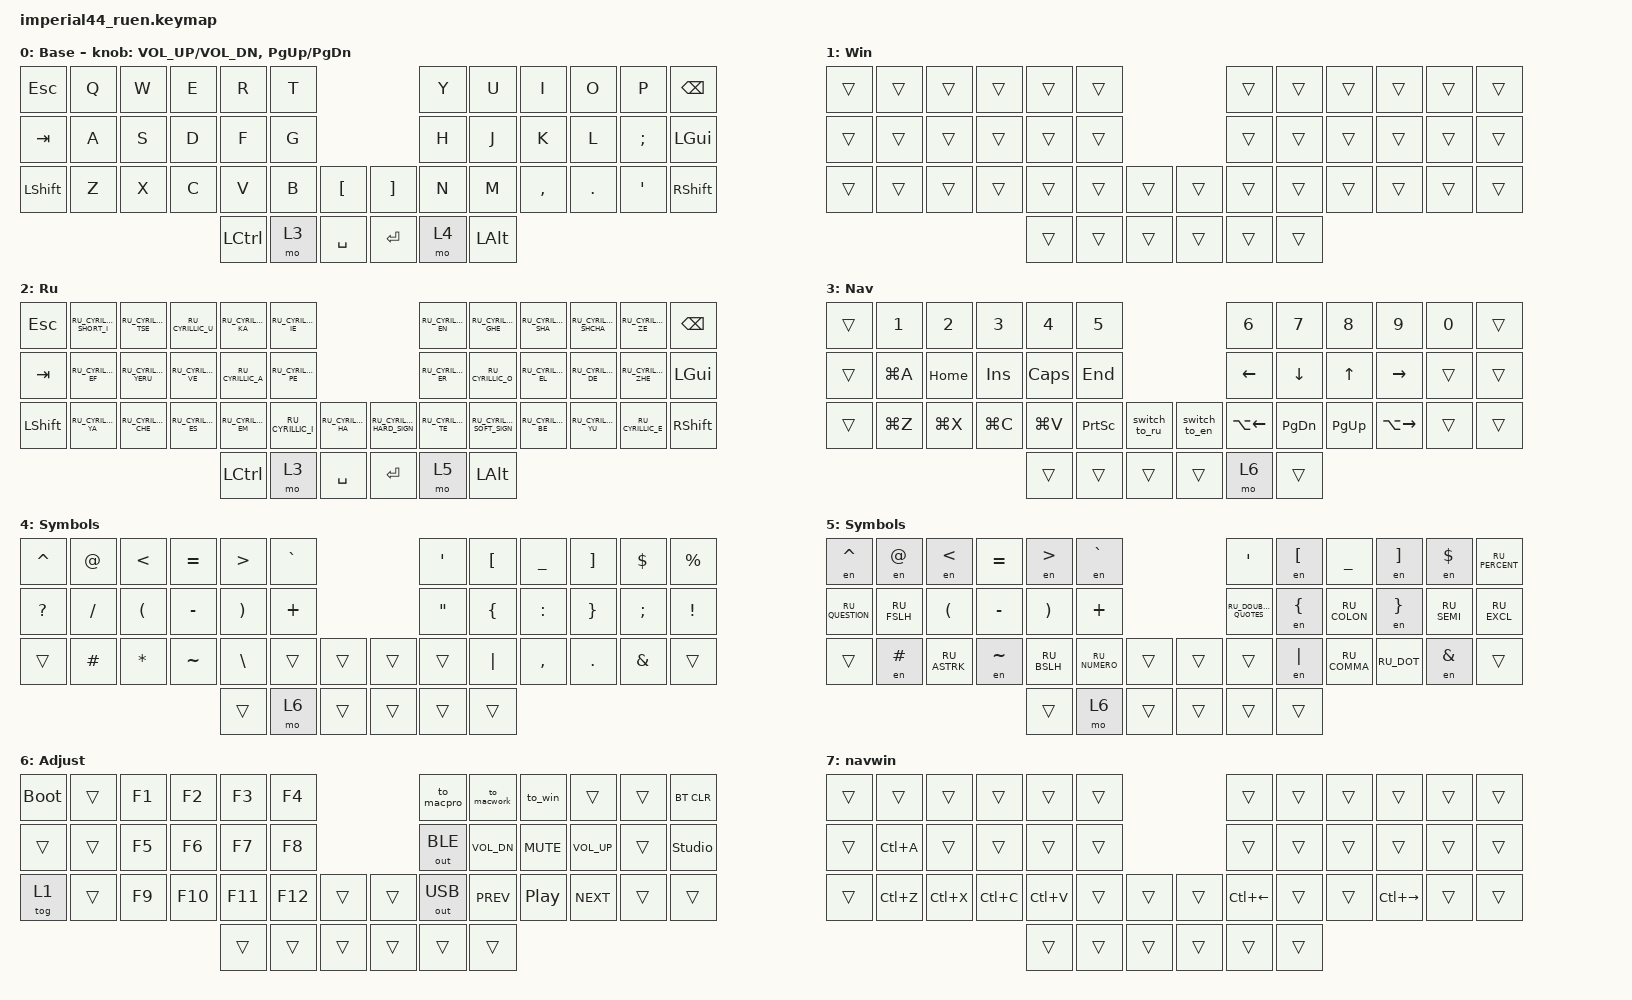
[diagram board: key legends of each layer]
#include "keys_ru.h"
#include <behaviors.dtsi>
#include <dt-bindings/zmk/bt.h>
#include <dt-bindings/zmk/keys.h>
#include <dt-bindings/zmk/outputs.h>

/ {
    behaviors {
        ru_on: ru_on {
            compatible = "zmk,behavior-toggle-layer";
            #binding-cells = <1>;
            display-name = "RU on";
            toggle-mode = "on";
        };

        ru_off: ru_off {
            compatible = "zmk,behavior-toggle-layer";
            #binding-cells = <1>;
            display-name = "RU off";
            toggle-mode = "off";
        };
    };

    combos {
        compatible = "zmk,combos";

        combo_to_en {
            bindings = <&switch_to_en>;
            key-positions = <16 15>;
            layers = <2>;
            timeout-ms = <50>;
            require-prior-idle-ms = <150>;
        };

        combo_to_ru {
            bindings = <&switch_to_ru>;
            key-positions = <16 15>;
            layers = <0 1>;
            timeout-ms = <50>;
            require-prior-idle-ms = <150>;
        };
    };

    macros {
        os_en: os_en {
            compatible = "zmk,behavior-macro";
            #binding-cells = <0>;
            wait-ms = <40>;
            tap-ms = <40>;
            bindings =
                <&macro_press>,
                <&kp LCTRL &kp LSHFT>,
                <&macro_tap>,
                <&kp N1>,
                <&macro_release>,
                <&kp LSHFT &kp LCTRL>;
            label = "OS_EN";
        };

        os_ru: os_ru {
            compatible = "zmk,behavior-macro";
            #binding-cells = <0>;
            wait-ms = <40>;
            tap-ms = <40>;
            bindings =
                <&macro_press>,
                <&kp LCTRL &kp LSHFT>,
                <&macro_tap>,
                <&kp N2>,
                <&macro_release>,
                <&kp LSHFT &kp LCTRL>;
            label = "OS_RU";
        };

        switch_to_ru: switch_to_ru {
            compatible = "zmk,behavior-macro";
            #binding-cells = <0>;
            wait-ms = <40>;
            tap-ms = <40>;
            bindings = <&ru_on 2 &os_ru>;
            label = "SWITCH_TO_RU";
        };

        switch_to_en: switch_to_en {
            compatible = "zmk,behavior-macro";
            #binding-cells = <0>;
            wait-ms = <40>;
            tap-ms = <40>;
            bindings = <&ru_off 2 &os_en>;
            label = "SWITCH_TO_EN";
        };

        en: en {
            compatible = "zmk,behavior-macro-one-param";
            #binding-cells = <1>;
            wait-ms = <40>;
            tap-ms = <40>;
            bindings =
                <&macro_tap>,
                <&os_en>,
                <&macro_wait_time 100>,
                <&macro_press>,
                <&macro_param_1to1 &kp MACRO_PLACEHOLDER>,
                <&macro_pause_for_release>,
                <&macro_release>,
                <&macro_param_1to1 &kp MACRO_PLACEHOLDER>,
                <&macro_tap>,
                <&macro_wait_time 60>,
                <&os_ru>;
            label = "EN";
        };

        to_macpro: to_macpro {
            compatible = "zmk,behavior-macro";
            #binding-cells = <0>;
            wait-ms = <40>;
            tap-ms = <40>;
            bindings = <&to 0 &bt BT_SEL 1>;
            label = "TO_MACPRO";
        };

        to_macwork: to_macwork {
            compatible = "zmk,behavior-macro";
            #binding-cells = <0>;
            wait-ms = <40>;
            tap-ms = <40>;
            bindings = <&to 0 &bt BT_SEL 2>;
            label = "TO_MACWORK";
        };

        to_win: to_win {
            compatible = "zmk,behavior-macro";
            #binding-cells = <0>;
            wait-ms = <40>;
            tap-ms = <40>;
            bindings = <&to 0 &tog 1 &bt BT_SEL 0>;
            label = "TO_WIN";
        };
    };

    keymap {
        compatible = "zmk,keymap";

        en {
            bindings = <
&kp ESC    &kp Q  &kp W  &kp E  &kp R      &kp T                          &kp Y  &kp U     &kp I      &kp O    &kp P     &kp BACKSPACE
&kp TAB    &kp A  &kp S  &kp D  &kp F      &kp G                          &kp H  &kp J     &kp K      &kp L    &kp SEMI  &kp LGUI
&kp LSHFT  &kp Z  &kp X  &kp C  &kp V      &kp B  &kp LBKT     &kp RBKT   &kp N  &kp M     &kp COMMA  &kp DOT  &kp SQT   &kp RSHFT
                                &kp LCTRL  &mo 3  &kp SPACE    &kp ENTER  &mo 4  &kp LALT
            >;

            display-name = "Base";
            sensor-bindings =
                <&inc_dec_kp C_VOL_UP C_VOL_DN>,
                <&inc_dec_kp PG_UP PG_DN>;
        };

        winmode {
            display-name = "Win";
            bindings = <
&trans  &trans  &trans  &trans  &trans  &trans                    &trans  &trans  &trans  &trans  &trans  &trans
&trans  &trans  &trans  &trans  &trans  &trans                    &trans  &trans  &trans  &trans  &trans  &trans
&trans  &trans  &trans  &trans  &trans  &trans  &trans    &trans  &trans  &trans  &trans  &trans  &trans  &trans
                                &trans  &trans  &trans    &trans  &trans  &trans
            >;
        };

        ru {
            display-name = "Ru";
            bindings = <
&kp ESC    &kp RU_CYRILLIC_SHORT_I  &kp RU_CYRILLIC_TSE   &kp RU_CYRILLIC_U   &kp RU_CYRILLIC_KA  &kp RU_CYRILLIC_IE                                                   &kp RU_CYRILLIC_EN  &kp RU_CYRILLIC_GHE        &kp RU_CYRILLIC_SHA  &kp RU_CYRILLIC_SHCHA  &kp RU_CYRILLIC_ZE   &kp BACKSPACE
&kp TAB    &kp RU_CYRILLIC_EF       &kp RU_CYRILLIC_YERU  &kp RU_CYRILLIC_VE  &kp RU_CYRILLIC_A   &kp RU_CYRILLIC_PE                                                   &kp RU_CYRILLIC_ER  &kp RU_CYRILLIC_O          &kp RU_CYRILLIC_EL   &kp RU_CYRILLIC_DE     &kp RU_CYRILLIC_ZHE  &kp LGUI
&kp LSHFT  &kp RU_CYRILLIC_YA       &kp RU_CYRILLIC_CHE   &kp RU_CYRILLIC_ES  &kp RU_CYRILLIC_EM  &kp RU_CYRILLIC_I   &kp RU_CYRILLIC_HA    &kp RU_CYRILLIC_HARD_SIGN  &kp RU_CYRILLIC_TE  &kp RU_CYRILLIC_SOFT_SIGN  &kp RU_CYRILLIC_BE   &kp RU_CYRILLIC_YU     &kp RU_CYRILLIC_E    &kp RSHFT
                                                                              &kp LCTRL           &mo 3               &kp SPACE             &kp ENTER                  &mo 5               &kp LALT
            >;
        };

        nav {
            bindings = <
&trans  &kp N1     &kp N2     &kp N3     &kp N4     &kp N5                                       &kp N6              &kp N7          &kp N8        &kp N9               &kp N0  &trans
&trans  &kp LG(A)  &kp HOME   &kp INS    &kp CAPS   &kp END                                      &kp LEFT_ARROW      &kp DOWN_ARROW  &kp UP_ARROW  &kp RIGHT_ARROW      &trans  &trans
&trans  &kp LG(Z)  &kp LG(X)  &kp LG(C)  &kp LG(V)  &kp PSCRN  &switch_to_ru    &switch_to_en   &kp LA(LEFT_ARROW)  &kp PG_DN       &kp PG_UP     &kp LA(RIGHT_ARROW)  &trans  &trans
                                         &trans     &trans     &trans           &trans           &mo 6               &trans
            >;

            display-name = "Nav";
        };

        sym_en {
            bindings = <
&kp CARET     &kp AT     &kp LT    &kp EQUAL  &kp GT         &kp GRAVE                    &kp SINGLE_QUOTE   &kp LBKT  &kp UNDER  &kp RBKT  &kp DOLLAR  &kp PERCENT
&kp QUESTION  &kp SLASH  &kp LPAR  &kp MINUS  &kp RPAR       &kp PLUS                     &kp DOUBLE_QUOTES  &kp LBRC  &kp COLON  &kp RBRC  &kp SEMI    &kp EXCL
&trans        &kp HASH   &kp STAR  &kp TILDE  &kp BACKSLASH  &trans     &trans    &trans   &trans             &kp PIPE  &kp COMMA  &kp DOT   &kp AMPS    &trans
                                              &trans         &mo 6      &trans    &trans   &trans             &trans
            >;

            display-name = "Symbols";
        };

        sym_ru {
            display-name = "Symbols";
            bindings = <
&en CARET        &en AT_SIGN  &en LT        &kp EQUAL  &en GT       &en GRAVE                              &kp SINGLE_QUOTE      &en LBKT  &kp UNDER     &en RBKT    &en DOLLAR    &kp RU_PERCENT
&kp RU_QUESTION  &kp RU_FSLH  &kp LPAR      &kp MINUS  &kp RPAR     &kp PLUS                               &kp RU_DOUBLE_QUOTES  &en LBRC  &kp RU_COLON  &en RBRC    &kp RU_SEMI   &kp RU_EXCL
&trans           &en HASH     &kp RU_ASTRK  &en TILDE  &kp RU_BSLH  &kp RU_NUMERO  &trans         &trans   &trans                &en PIPE  &kp RU_COMMA  &kp RU_DOT  &en AMPS      &trans
                                                       &trans       &mo 6          &trans         &trans   &trans                &trans
            >;
        };

        adj {
            bindings = <
&bootloader  &trans  &kp F1  &kp F2   &kp F3   &kp F4                     &to_macpro    &to_macwork   &to_win           &trans        &trans  &bt BT_CLR
&trans       &trans  &kp F5  &kp F6   &kp F7   &kp F8                     &out OUT_BLE  &kp C_VOL_DN  &kp C_MUTE        &kp C_VOL_UP  &trans  &studio_unlock
&tog 1       &trans  &kp F9  &kp F10  &kp F11  &kp F12  &trans    &trans  &out OUT_USB  &kp C_PREV    &kp C_PLAY_PAUSE  &kp C_NEXT    &trans  &trans
                                      &trans   &trans   &trans    &trans  &trans        &trans
            >;

            display-name = "Adjust";
        };

        navwin {
            bindings = <
&trans  &trans     &trans     &trans     &trans     &trans                    &trans              &trans  &trans  &trans               &trans  &trans
&trans  &kp LC(A)  &trans     &trans     &trans     &trans                    &trans              &trans  &trans  &trans               &trans  &trans
&trans  &kp LC(Z)  &kp LC(X)  &kp LC(C)  &kp LC(V)  &trans  &trans    &trans  &kp LC(LEFT_ARROW)  &trans  &trans  &kp LC(RIGHT_ARROW)  &trans  &trans
                                         &trans     &trans  &trans    &trans  &trans              &trans
            >;
        };
    };

    conditional_layers {
        compatible = "zmk,conditional-layers";

        usenavwin {
            if-layers = <1 3>;
            then-layer = <7>;
        };
    };
};
